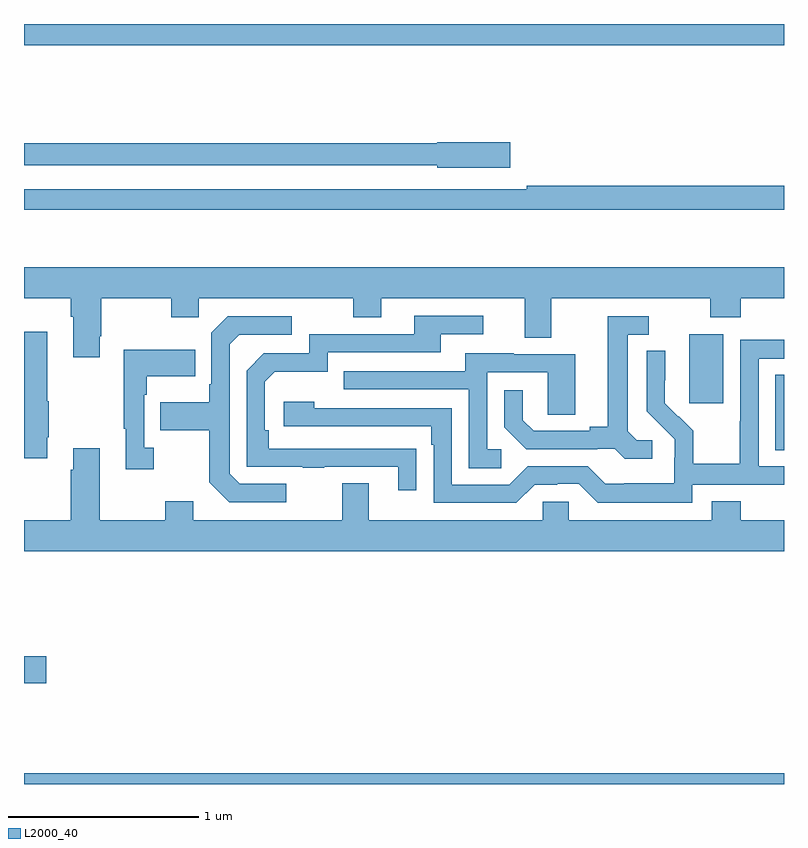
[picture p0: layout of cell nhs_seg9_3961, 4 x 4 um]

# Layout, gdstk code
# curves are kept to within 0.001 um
import gdstk
lib = gdstk.Library(unit=1e-6, precision=1e-09)
def R(c, l, rs):  # rectangles x0, y0, x1, y1
    for r in rs: c.add(gdstk.rectangle(r[:2], r[2:], *l))
def P(c, l, *ps):  # polygons
    for p in ps: c.add(gdstk.Polygon(p, *l))
L2000_40 = (2000, 40)

nhs_seg9_3961 = lib.new_cell('nhs_seg9_3961')
R(nhs_seg9_3961, L2000_40, [(337,1224.5,341,1224.556), (337,1225.03,337.117,1225.172), (340.955,1226.257,341,1226.654), (340.502,1226.505,340.681,1226.866), (337,1228.388,341,1228.5)])
P(nhs_seg9_3961, L2000_40, [(339.559,1227.878),(339.174,1227.878),(339.174,1227.872),(337,1227.872),(337,1227.756),(339.174,1227.756),(339.174,1227.743),(339.559,1227.743)],
  [(341,1227.65),(339.646,1227.65),(339.646,1227.63),(337,1227.63),(337,1227.522),(341,1227.522)],
  [(337.399,1226.857),(337.407,1226.857),(337.407,1227.056),(337.774,1227.056),(337.774,1226.957),(337.92,1226.957),(337.92,1227.056),(338.734,1227.056),(338.734,1226.957),(338.881,1226.957),(338.881,1227.056),(339.635,1227.056),(339.635,1226.848),(339.775,1226.848),(339.775,1227.056),(340.612,1227.056),(340.612,1226.957),(340.772,1226.957),(340.772,1227.056),(341,1227.056),(341,1227.22),(337,1227.22),(337,1227.056),(337.247,1227.056),(337.247,1226.96),(337.259,1226.96),(337.259,1226.745),(337.399,1226.745)],
  [(339.065,1226.264),(338.288,1226.265),(338.288,1226.362),(338.268,1226.362),(338.268,1226.616),(338.321,1226.669),(338.598,1226.669),(338.598,1226.772),(339.193,1226.772),(339.193,1226.868),(339.418,1226.868),(339.418,1226.964),(339.053,1226.964),(339.053,1226.868),(338.502,1226.868),(338.502,1226.766),(338.262,1226.766),(338.172,1226.676),(338.172,1226.169),(338.467,1226.169),(338.467,1226.164),(338.579,1226.164),(338.579,1226.169),(338.969,1226.169),(338.969,1226.046),(339.065,1226.046)],
  [(340.306,1226.31),(340.224,1226.31),(340.177,1226.357),(340.177,1226.865),(340.288,1226.865),(340.288,1226.961),(340.073,1226.961),(340.073,1226.381),(339.977,1226.381),(339.977,1226.358),(339.682,1226.358),(339.625,1226.415),(339.625,1226.572),(339.528,1226.572),(339.528,1226.378),(339.644,1226.262),(340.016,1226.262),(340.016,1226.265),(340.11,1226.265),(340.162,1226.213),(340.306,1226.213)],
  [(338.38,1226.079),(338.136,1226.079),(338.082,1226.133),(338.082,1226.814),(338.133,1226.865),(338.41,1226.865),(338.41,1226.961),(338.073,1226.961),(337.986,1226.874),(337.986,1226.605),(337.974,1226.605),(337.974,1226.509),(337.717,1226.509),(337.717,1226.362),(337.974,1226.362),(337.974,1226.089),(338.079,1225.983),(338.38,1225.983)],
  [(337.123,1226.326),(337.131,1226.326),(337.131,1226.515),(337.123,1226.515),(337.123,1226.881),(337,1226.881),(337,1226.214),(337.123,1226.214)],
  [(340.518,1226.076),(341,1226.076),(341,1226.172),(340.866,1226.172),(340.866,1226.739),(341,1226.739),(341,1226.838),(340.77,1226.838),(340.77,1226.408),(340.768,1226.408),(340.768,1226.185),(340.523,1226.185),(340.523,1226.359),(340.446,1226.436),(340.443,1226.433),(340.373,1226.504),(340.374,1226.78),(340.278,1226.78),(340.278,1226.462),(340.424,1226.314),(340.424,1226.217),(340.422,1226.217),(340.422,1226.083),(340.159,1226.083),(340.159,1226.079),(340.059,1226.079),(339.966,1226.172),(339.651,1226.172),(339.555,1226.076),(339.252,1226.076),(339.252,1226.478),(338.528,1226.478),(338.528,1226.512),(338.367,1226.512),(338.367,1226.382),(339.143,1226.382),(339.143,1226.285),(339.156,1226.285),(339.156,1225.98),(339.591,1225.98),(339.687,1226.076),(339.806,1226.076),(339.806,1226.079),(339.921,1226.079),(340.021,1225.979),(340.518,1225.979)],
  [(337.684,1226.27),(337.632,1226.27),(337.632,1226.549),(337.645,1226.549),(337.645,1226.645),(337.901,1226.645),(337.901,1226.785),(337.524,1226.785),(337.524,1226.369),(337.535,1226.369),(337.535,1226.157),(337.684,1226.157)],
  [(339.511,1226.262),(339.438,1226.262),(339.438,1226.667),(339.756,1226.667),(339.756,1226.443),(339.901,1226.443),(339.901,1226.763),(339.577,1226.763),(339.577,1226.767),(339.323,1226.767),(339.323,1226.673),(338.683,1226.673),(338.683,1226.577),(339.342,1226.577),(339.342,1226.161),(339.511,1226.161)],
  [(341,1225.888),(340.772,1225.888),(340.772,1225.987),(340.619,1225.987),(340.619,1225.888),(339.867,1225.888),(339.867,1225.986),(339.729,1225.986),(339.729,1225.888),(338.815,1225.888),(338.815,1226.083),(338.675,1226.083),(338.675,1225.888),(337.891,1225.888),(337.891,1225.987),(337.744,1225.987),(337.744,1225.888),(337.399,1225.888),(337.399,1226.266),(337.259,1226.266),(337.259,1226.153),(337.247,1226.153),(337.247,1225.888),(337,1225.888),(337,1225.724),(341,1225.724)])

lib.write_gds('nhs_seg9_3961.gds')
